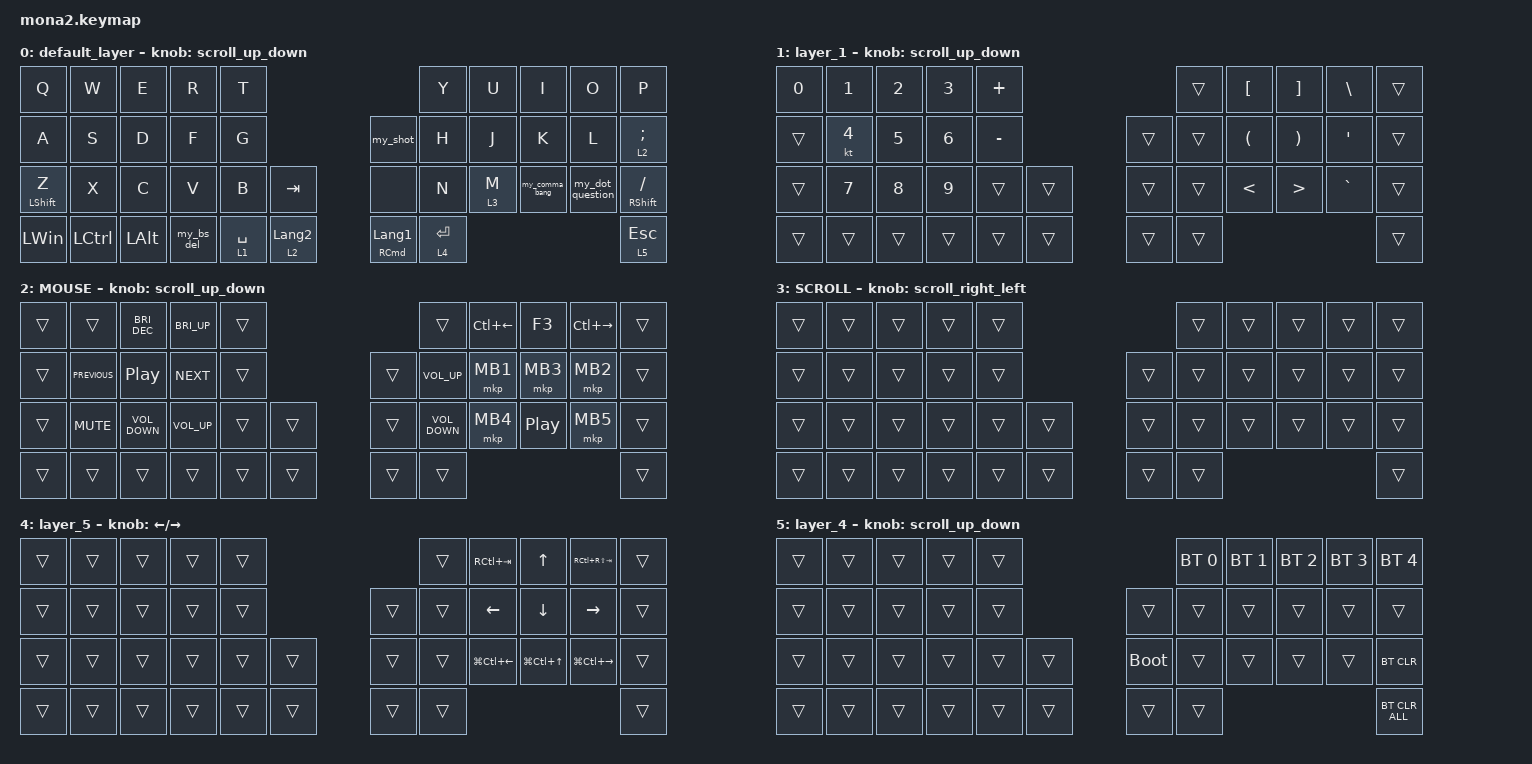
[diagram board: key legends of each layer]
#include <input/processors.dtsi>
#include <dt-bindings/zmk/input_transform.h>
#include <zephyr/dt-bindings/input/input-event-codes.h>
#include <behaviors.dtsi>
#include <dt-bindings/zmk/bt.h>
#include <dt-bindings/zmk/keys.h>
#include <dt-bindings/zmk/pointing.h>

#define ZMK_POINTING_DEFAULT_SCRL_VAL 100
#define MOUSE 5
#define SCROLL 6

&mt {
    flavor = "balanced";
    quick-tap-ms = <0>;
};

&lt {
    quick-tap-ms = <300>;
    flavor = "balanced";
};

/ {
    combos {
        compatible = "zmk,combos";

        layer4_ESC {
            bindings = <&lt 2 ESC>;
            key-positions = <39 38>;
        };

        tab {
            bindings = <&kp TAB>;
            key-positions = <11 12>;
        };
    };

    macros {
        to_layer_0: to_layer_0 {
            compatible = "zmk,behavior-macro-one-param";
            #binding-cells = <1>;
            bindings = <&to 0 &macro_param_1to1 &kp MACRO_PLACEHOLDER>;
            label = "TO_LAYER_0";
        };
    };

    behaviors {
        lt_to_layer_0: lt_to_layer_0 {
            compatible = "zmk,behavior-hold-tap";
            label = "LAYER_TAP_TO_0";
            bindings = <&mo>, <&to_layer_0>;

            #binding-cells = <2>;
            tapping-term-ms = <200>;
        };

        scroll_up_down: mouse_wheel_up_down {
            compatible = "zmk,behavior-sensor-rotate";
            #sensor-binding-cells = <0>;
            bindings = <&msc SCRL_UP>, <&msc SCRL_DOWN>;

            tap-ms = <20>;
        };

        scroll_right_left: mouse_wheel_right_left {
            compatible = "zmk,behavior-sensor-rotate";
            #sensor-binding-cells = <0>;
            bindings = <&msc SCRL_LEFT>, <&msc SCRL_RIGHT>;

            tap-ms = <20>;
        };

        my_comma_bang: my_comma_bang {
            compatible = "zmk,behavior-mod-morph";
            label = "MY_COMMA_BANG";
            bindings = <&kp COMMA>, <&kp EXCLAMATION>;

            #binding-cells = <0>;
            mods = <(MOD_RSFT|MOD_LSFT)>;
        };

        my_dot_question: my_dot_question {
            compatible = "zmk,behavior-mod-morph";
            label = "MY_DOT_QUESTION";
            bindings = <&kp PERIOD>, <&kp QUESTION>;

            #binding-cells = <0>;
            mods = <(MOD_RSFT|MOD_LSFT)>;
        };

        my_bs_del: my_bs_del {
            compatible = "zmk,behavior-mod-morph";
            label = "MY_BS_DEL";
            bindings = <&kp BACKSPACE>, <&kp DELETE>;

            #binding-cells = <0>;
            mods = <(MOD_LSFT|MOD_RSFT)>;
        };

        my_shot: my_shot {
            compatible = "zmk,behavior-mod-morph";
            label = "MY_SHOT";
            bindings = <&kp LG(LS(LC(NUMBER_4)))>, <&kp LG(LS(NUMBER_4))>;

            #binding-cells = <0>;
            mods = <(MOD_LSFT|MOD_RSFT)>;
        };
    };

    keymap {
        compatible = "zmk,keymap";

        default_layer {
            bindings = <
&kp Q             &kp W      &kp E         &kp R       &kp T                                                                     &kp Y        &kp U    &kp I           &kp O             &kp P
&kp A             &kp S      &kp D         &kp F       &kp G                                       &my_shot                      &kp H        &kp J    &kp K           &kp L             &lt 2 SEMICOLON
&mt LEFT_SHIFT Z  &kp X      &kp C         &kp V       &kp B        &kp TAB                        &none                         &kp N        &lt 3 M  &my_comma_bang  &my_dot_question  &mt RIGHT_SHIFT SLASH
&kp LEFT_WIN      &kp LCTRL  &kp LEFT_ALT  &my_bs_del  &lt 1 SPACE  &lt_to_layer_0 2 LANGUAGE_2    &mt RIGHT_COMMAND LANGUAGE_1  &lt 4 ENTER                                             &lt 5 ESCAPE
            >;

            sensor-bindings = <&scroll_up_down>;
        };

        layer_1 {
            bindings = <
&kp NUMBER_0  &kp NUMBER_1  &kp NUMBER_2  &kp NUMBER_3  &kp PLUS                     &trans  &kp LEFT_BRACKET      &kp RIGHT_BRACKET      &kp BACKSLASH  &trans
&trans        &kt NUMBER_4  &kp NUMBER_5  &kp NUMBER_6  &kp MINUS            &trans  &trans  &kp LEFT_PARENTHESIS  &kp RIGHT_PARENTHESIS  &kp SQT        &trans
&trans        &kp NUMBER_7  &kp NUMBER_8  &kp NUMBER_9  &trans     &trans    &trans  &trans  &kp LESS_THAN         &kp GREATER_THAN       &kp GRAVE      &trans
&trans        &trans        &trans        &trans        &trans     &trans    &trans  &trans                                                              &trans
            >;

            sensor-bindings = <&scroll_up_down>;
        };

        MOUSE {
            bindings = <
&trans  &trans          &kp C_BRI_DEC      &kp C_BRI_UP     &trans                    &trans             &kp LC(LEFT_ARROW)  &kp F3            &kp LC(RIGHT_ARROW)  &trans
&trans  &kp C_PREVIOUS  &kp C_PLAY_PAUSE   &kp C_NEXT       &trans            &trans  &kp C_VOL_UP       &mkp MB1            &mkp MB3          &mkp MB2             &trans
&trans  &kp C_MUTE      &kp C_VOLUME_DOWN  &kp C_VOLUME_UP  &trans  &trans    &trans  &kp C_VOLUME_DOWN  &mkp MB4            &kp C_PLAY_PAUSE  &mkp MB5             &trans
&trans  &trans          &trans             &trans           &trans  &trans    &trans  &trans                                                                        &trans
            >;

            sensor-bindings = <&scroll_up_down>;
        };

        SCROLL {
            bindings = <
&trans  &trans  &trans  &trans  &trans                    &trans  &trans  &trans  &trans  &trans
&trans  &trans  &trans  &trans  &trans            &trans  &trans  &trans  &trans  &trans  &trans
&trans  &trans  &trans  &trans  &trans  &trans    &trans  &trans  &trans  &trans  &trans  &trans
&trans  &trans  &trans  &trans  &trans  &trans    &trans  &trans                          &trans
            >;

            sensor-bindings = <&scroll_right_left>;
        };

        layer_5 {
            bindings = <
&trans  &trans  &trans  &trans  &trans                    &trans  &kp RC(TAB)             &kp UP_ARROW          &kp RC(RS(TAB))          &trans
&trans  &trans  &trans  &trans  &trans            &trans  &trans  &kp LEFT_ARROW          &kp DOWN_ARROW        &kp RIGHT_ARROW          &trans
&trans  &trans  &trans  &trans  &trans  &trans    &trans  &trans  &kp LG(LC(LEFT_ARROW))  &kp LG(LC(UP_ARROW))  &kp LG(LC(RIGHT_ARROW))  &trans
&trans  &trans  &trans  &trans  &trans  &trans    &trans  &trans                                                                         &trans
            >;

            sensor-bindings = <&inc_dec_kp LEFT_ARROW RIGHT_ARROW>;
        };

        layer_4 {
            bindings = <
&trans  &trans  &trans  &trans  &trans                         &bt BT_SEL 0  &bt BT_SEL 1  &bt BT_SEL 2  &bt BT_SEL 3  &bt BT_SEL 4
&trans  &trans  &trans  &trans  &trans            &trans       &trans        &trans        &trans        &trans        &trans
&trans  &trans  &trans  &trans  &trans  &trans    &bootloader  &trans        &trans        &trans        &trans        &bt BT_CLR
&trans  &trans  &trans  &trans  &trans  &trans    &trans       &trans                                                  &bt BT_CLR_ALL
            >;

            sensor-bindings = <&scroll_up_down>;
        };
    };
};
